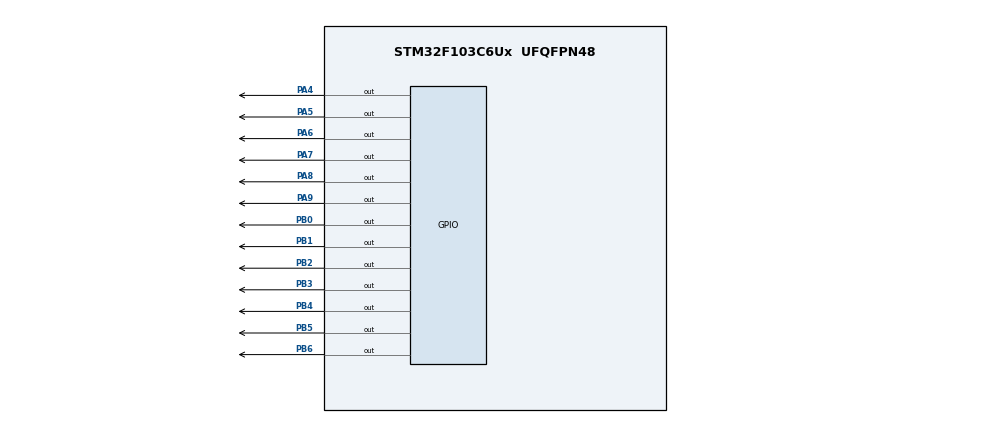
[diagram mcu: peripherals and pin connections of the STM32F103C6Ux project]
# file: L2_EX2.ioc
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Mcu.Family=STM32F1
Mcu.Name=STM32F103C6Ux
Mcu.Package=UFQFPN48
NVIC.PriorityGroup=NVIC_PRIORITYGROUP_4
NVIC.TIM2_IRQn=true\:0\:0\:false\:false\:true\:true\:true
PA4.Signal=GPIO_Output
PA5.Signal=GPIO_Output
PA6.Signal=GPIO_Output
PA7.Signal=GPIO_Output
PA8.Signal=GPIO_Output
PA9.Signal=GPIO_Output
PB0.Signal=GPIO_Output
PB1.Signal=GPIO_Output
PB2.Signal=GPIO_Output
PB3.Signal=GPIO_Output
PB4.Signal=GPIO_Output
PB5.Signal=GPIO_Output
PB6.Signal=GPIO_Output
ProjectManager.HeapSize=0x200
ProjectManager.StackSize=0x400
ProjectManager.TargetToolchain=STM32CubeIDE
RCC.APB1Freq_Value=8000000
RCC.APB2Freq_Value=8000000
TIM2.Period=9
TIM2.Prescaler=7999
VP_SYS_VS_ND.Mode=No_Debug
VP_TIM2_VS_ClockSourceINT.Mode=Internal
board=custom

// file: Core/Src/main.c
/* USER CODE BEGIN Header */
/**
  ******************************************************************************
  * @file           : main.c
  * @brief          : Main program body
  ******************************************************************************
  * @attention
  *
  * <h2><center>&copy; Copyright (c) 2022 STMicroelectronics.
  * All rights reserved.</center></h2>
  *
  * This software component is licensed by ST under BSD 3-Clause license,
  * the "License"; You may not use this file except in compliance with the
  * License. You may obtain a copy of the License at:
  *                        opensource.org/licenses/BSD-3-Clause
  *
  ******************************************************************************
  */
/* USER CODE END Header */
#include "main.h"

TIM_HandleTypeDef htim2;

void SystemClock_Config(void);
static void MX_GPIO_Init(void);
static void MX_TIM2_Init(void);

int main(void)
{

  /* MCU Configuration--------------------------------------------------------*/

  /* Reset of all peripherals, Initializes the Flash interface and the Systick. */
  HAL_Init();

  /* Configure the system clock */
  SystemClock_Config();

  /* Initialize all configured peripherals */
  MX_GPIO_Init();
  MX_TIM2_Init();
  /* USER CODE BEGIN 2 */
  HAL_TIM_Base_Start_IT (& htim2 );

  /* USER CODE END 2 */

  /* Infinite loop */
  while (1)
  {

  }
}

void SystemClock_Config(void)
{
  RCC_OscInitTypeDef RCC_OscInitStruct = {0};
  RCC_ClkInitTypeDef RCC_ClkInitStruct = {0};

  /** Initializes the RCC Oscillators according to the specified parameters
  * in the RCC_OscInitTypeDef structure.
  */
  RCC_OscInitStruct.OscillatorType = RCC_OSCILLATORTYPE_HSI;
  RCC_OscInitStruct.HSIState = RCC_HSI_ON;
  RCC_OscInitStruct.HSICalibrationValue = RCC_HSICALIBRATION_DEFAULT;
  RCC_OscInitStruct.PLL.PLLState = RCC_PLL_NONE;
  if (HAL_RCC_OscConfig(&RCC_OscInitStruct) != HAL_OK)
  {
    Error_Handler();
  }
  /** Initializes the CPU, AHB and APB buses clocks
  */
  RCC_ClkInitStruct.ClockType = RCC_CLOCKTYPE_HCLK|RCC_CLOCKTYPE_SYSCLK
                              |RCC_CLOCKTYPE_PCLK1|RCC_CLOCKTYPE_PCLK2;
  RCC_ClkInitStruct.SYSCLKSource = RCC_SYSCLKSOURCE_HSI;
  RCC_ClkInitStruct.AHBCLKDivider = RCC_SYSCLK_DIV1;
  RCC_ClkInitStruct.APB1CLKDivider = RCC_HCLK_DIV1;
  RCC_ClkInitStruct.APB2CLKDivider = RCC_HCLK_DIV1;

  if (HAL_RCC_ClockConfig(&RCC_ClkInitStruct, FLASH_LATENCY_0) != HAL_OK)
  {
    Error_Handler();
  }
}

static void MX_TIM2_Init(void)
{

  TIM_ClockConfigTypeDef sClockSourceConfig = {0};
  TIM_MasterConfigTypeDef sMasterConfig = {0};

  htim2.Instance = TIM2;
  htim2.Init.Prescaler = 7999;
  htim2.Init.CounterMode = TIM_COUNTERMODE_UP;
  htim2.Init.Period = 9;
  htim2.Init.ClockDivision = TIM_CLOCKDIVISION_DIV1;
  htim2.Init.AutoReloadPreload = TIM_AUTORELOAD_PRELOAD_DISABLE;
  if (HAL_TIM_Base_Init(&htim2) != HAL_OK)
  {
    Error_Handler();
  }
  sClockSourceConfig.ClockSource = TIM_CLOCKSOURCE_INTERNAL;
  if (HAL_TIM_ConfigClockSource(&htim2, &sClockSourceConfig) != HAL_OK)
  {
    Error_Handler();
  }
  sMasterConfig.MasterOutputTrigger = TIM_TRGO_RESET;
  sMasterConfig.MasterSlaveMode = TIM_MASTERSLAVEMODE_DISABLE;
  if (HAL_TIMEx_MasterConfigSynchronization(&htim2, &sMasterConfig) != HAL_OK)
  {
    Error_Handler();
  }

}

static void MX_GPIO_Init(void)
{
  GPIO_InitTypeDef GPIO_InitStruct = {0};

  /* GPIO Ports Clock Enable */
  __HAL_RCC_GPIOA_CLK_ENABLE();
  __HAL_RCC_GPIOB_CLK_ENABLE();

  /*Configure GPIO pin Output Level */
  HAL_GPIO_WritePin(GPIOA, GPIO_PIN_4|GPIO_PIN_5|GPIO_PIN_6|GPIO_PIN_7
                          |GPIO_PIN_8|GPIO_PIN_9, GPIO_PIN_RESET);

  /*Configure GPIO pin Output Level */
  HAL_GPIO_WritePin(GPIOB, GPIO_PIN_0|GPIO_PIN_1|GPIO_PIN_2|GPIO_PIN_3
                          |GPIO_PIN_4|GPIO_PIN_5|GPIO_PIN_6, GPIO_PIN_RESET);

  /*Configure GPIO pins : PA4 PA5 PA6 PA7
                           PA8 PA9 */
  GPIO_InitStruct.Pin = GPIO_PIN_4|GPIO_PIN_5|GPIO_PIN_6|GPIO_PIN_7
                          |GPIO_PIN_8|GPIO_PIN_9;
  GPIO_InitStruct.Mode = GPIO_MODE_OUTPUT_PP;
  GPIO_InitStruct.Pull = GPIO_NOPULL;
  GPIO_InitStruct.Speed = GPIO_SPEED_FREQ_LOW;
  HAL_GPIO_Init(GPIOA, &GPIO_InitStruct);

  /*Configure GPIO pins : PB0 PB1 PB2 PB3
                           PB4 PB5 PB6 */
  GPIO_InitStruct.Pin = GPIO_PIN_0|GPIO_PIN_1|GPIO_PIN_2|GPIO_PIN_3
                          |GPIO_PIN_4|GPIO_PIN_5|GPIO_PIN_6;
  GPIO_InitStruct.Mode = GPIO_MODE_OUTPUT_PP;
  GPIO_InitStruct.Pull = GPIO_NOPULL;
  GPIO_InitStruct.Speed = GPIO_SPEED_FREQ_LOW;
  HAL_GPIO_Init(GPIOB, &GPIO_InitStruct);

}

/* USER CODE BEGIN 4 */
void display7SEG(int num) {
  		char led7seg[10] = { 0x40, 0x79, 0x24, 0x30, 0x19, 0x92, 0x12, 0x78,
  				0x0, 0x10 };
  		for (int i = 0; i < 7; i++) {
  			HAL_GPIO_WritePin(GPIOB, GPIO_PIN_0 << i, (led7seg[num] >> i) & 1);
  		}
  	}
void clearLED() {
	HAL_GPIO_WritePin( GPIOA, GPIO_PIN_6 | GPIO_PIN_7 | GPIO_PIN_8 | GPIO_PIN_9,
			GPIO_PIN_SET);
	HAL_GPIO_WritePin( GPIOB, GPIO_PIN_0 | GPIO_PIN_1 | GPIO_PIN_2 |
	GPIO_PIN_3 | GPIO_PIN_4 | GPIO_PIN_5 |
	GPIO_PIN_6, GPIO_PIN_SET);
}
int counter = 100 , mid = 0;
void HAL_TIM_PeriodElapsedCallback ( TIM_HandleTypeDef * htim ) {
 counter --;
 if ( counter == 50 || counter == 0) {
 if ( counter == 0) {
 counter = 100;
 HAL_GPIO_TogglePin (GPIOA , GPIO_PIN_4 | GPIO_PIN_5 );
 	 }

clearLED();
 display7SEG(mid);
 mid++;
 if(mid >=4) mid = 0;
 	 }
 }
/* USER CODE END 4 */

void Error_Handler(void)
{
  __disable_irq();
  while (1)
  {
  }
}

/************************ (C) COPYRIGHT STMicroelectronics *****END OF FILE****/
